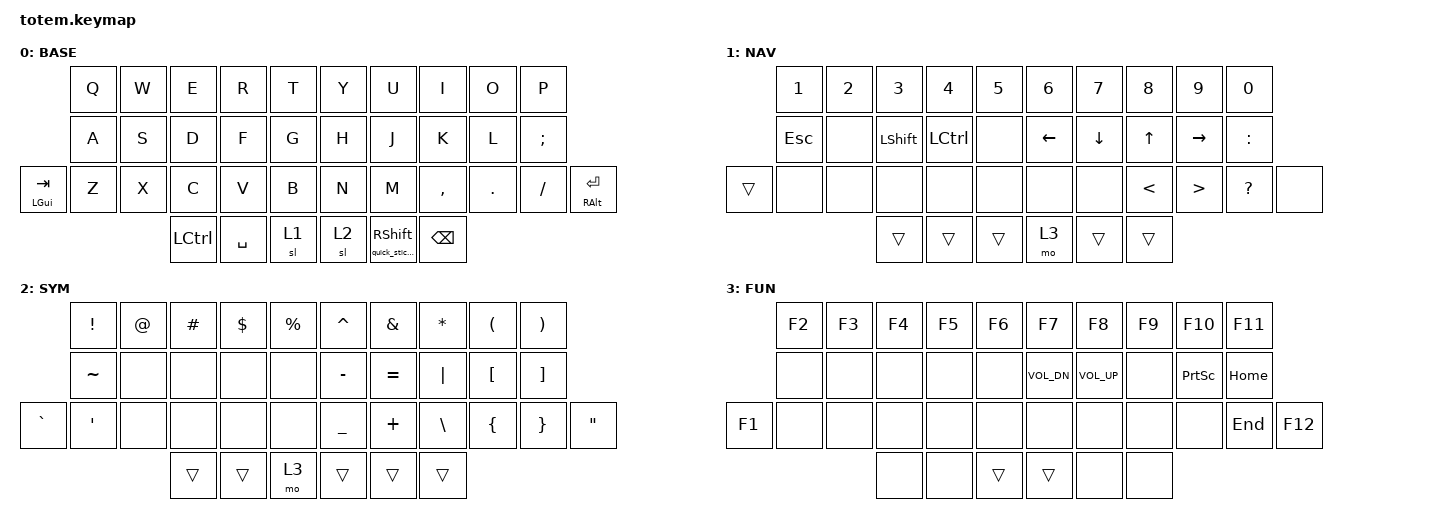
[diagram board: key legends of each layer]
//
//                                                        ▀▀▀▀▀     ▀▀▀▀▀          ▀▀█▀▀
//                                                        ▄▀▀▀▄  ▄  ▄▀▀▀▄  ▄  ▄▀▀▀▄  █  ▄▀▀▀▄
//                                                        █   █  █  █   █  █  █   █  █  █   █
//                                                         ▀▀▀   █   ▀▀▀   █   ▀▀▀   ▀   ▀▀▀
//                                                               █      ▄▄▄█▄▄▄    █   █  
//                                                               ▀      █  █  █     █▄█
//                                                             ▀▀▀▀▀    █  █  █      ▀
//                                                                      ▀  ▀  ▀
//
// ▄▄▄▄▄▄▄▄▄▄▄▄▄▄▄▄▄▄▄▄▄▄▄▄▄▄▄▄▄▄▄▄▄▄▄▄▄▄▄▄▄▄▄▄▄▄▄▄▄▄▄▄▄▄▄▄▄▄▄▄▄▄▄▄▄▄▄▄▄▄▄▄▄▄▄▄▄▄▄▄▄▄▄▄▄▄▄▄▄▄▄▄▄▄▄▄▄▄▄▄▄▄▄▄▄▄▄▄▄▄▄▄▄▄▄▄▄▄▄▄▄▄▄▄▄▄▄▄▄▄▄▄▄▄▄▄▄▄▄▄▄▄▄▄▄▄▄▄▄

#include <behaviors.dtsi>
#include <dt-bindings/zmk/bt.h>
#include <dt-bindings/zmk/keys.h>

#define BASE 0
#define NAV  1
#define SYM  2
#define ADJ  3
#define TVP1 4
#define TVP2 5

&mt {
    quick-tap-ms = <100>;
    global-quick-tap;
    flavor = "tap-preferred";
    tapping-term-ms = <170>;
};

/ {
    combos {
        compatible = "zmk,combos";

        BT_CLEAR_ALL {
            bindings = <&bt BT_CLR_ALL>;
            key-positions = <20 31>;
            layers = <3>;
        };
    };

    macros {
        gif: gif {
            label = "giphy";
            compatible = "zmk,behavior-macro";
            #binding-cells = <0>;
            bindings =
                <&macro_press>,
                <&kp LSHFT>,
                <&macro_tap>,
                <&kp N2>,
                <&macro_release>,
                <&kp LSHFT>,
                <&macro_tap>,
                <&kp G &kp I &kp F>;
        };
    };

    behaviors {
        quick_sticky: quick_sticky {
            compatible = "zmk,behavior-sticky-key";
            label = "QUICK_STICKY";
            bindings = <&kp>;
            #binding-cells = <1>;
            release-after-ms = <500>;
            quick-release;
        };
    };

    keymap {
        compatible = "zmk,keymap";

        // ▄▄▄▄▄▄▄▄▄▄▄▄▄▄▄▄▄▄▄▄▄▄▄▄▄▄▄▄▄▄▄▄▄▄▄▄▄▄▄▄▄▄▄▄▄▄▄▄▄▄▄▄▄▄▄▄▄▄▄▄▄▄▄▄▄▄▄▄▄▄▄▄▄▄▄▄▄▄▄▄▄▄▄▄▄▄▄▄▄▄▄▄▄▄▄▄▄▄▄▄▄▄▄▄▄▄▄▄▄▄▄▄▄▄▄▄▄▄▄▄▄▄▄▄▄▄▄▄▄▄▄▄▄▄▄▄▄▄▄▄▄▄▄▄▄▄▄▄▄

        base {
            // ┏━━━━━━━━━━━━━━━━━━━━━━━━━━━━━━━━━━━━━━━┓

            label = "BASE";

            // ┗━━━━━━━━━━━━━━━━━━━━━━━━━━━━━━━━━━━━━━━┛
            //             ┏━━━━━━━━━━━┳━━━━━━━━━━━┳━━━━━━━━━━━┳━━━━━━━━━━━┳━━━━━━━━━━━┓   ┏━━━━━━━━━━━┳━━━━━━━━━━━┳━━━━━━━━━━━┳━━━━━━━━━━━┳━━━━━━━━━━━┓
            //             ┃     Q     ┃     W     ┃     F     ┃     P     ┃     G     ┃   ┃     J     ┃     L     ┃     U     ┃     Y     ┃     ;     ┃
            //             ┣━━━━━━━━━━━╋━━━━━━━━━━━╋━━━━━━━━━━━╋━━━━━━━━━━━╋━━━━━━━━━━━┫   ┣━━━━━━━━━━━╋━━━━━━━━━━━╋━━━━━━━━━━━╋━━━━━━━━━━━╋━━━━━━━━━━━┫
            //             ┃     A     ┃     R     ┃     S     ┃     T     ┃     D     ┃   ┃     H     ┃     N     ┃     E     ┃     I     ┃     O     ┃
            // ┏━━━━━━━━━━━╋━━━━━━━━━━━╋━━━━━━━━━━━╋━━━━━━━━━━━╋━━━━━━━━━━━╋━━━━━━━━━━━┫   ┣━━━━━━━━━━━╋━━━━━━━━━━━╋━━━━━━━━━━━╋━━━━━━━━━━━╋━━━━━━━━━━━╋━━━━━━━━━━━┓
            // ┃     Q     ┃     Z     ┃     X     ┃     C     ┃     V     ┃     B     ┃   ┃     K     ┃     M     ┃     ,     ┃     .     ┃     /     ┃     \     ┃
            // ┗━━━━━━━━━━━┻━━━━━━━━━━━┻━━━━━━━━━━━╋━━━━━━━━━━━╋━━━━━━━━━━━╋━━━━━━━━━━━┫   ┣━━━━━━━━━━━╋━━━━━━━━━━━╋━━━━━━━━━━━╋━━━━━━━━━━━┻━━━━━━━━━━━┻━━━━━━━━━━━┛
            //                                     ┃    DEL    ┃    TAB    ┃    SPC    ┃   ┃   ENTER   ┃           ┃   BSPC    ┃
            //                                     ┗━━━━━━━━━━━┻━━━━━━━━━━━┻━━━━━━━━━━━┛   ┗━━━━━━━━━━━┻━━━━━━━━━━━┻━━━━━━━━━━━┛

            bindings = <
                  &kp Q  &kp W  &kp E             &kp R      &kp T    &kp Y  &kp U                      &kp I      &kp O    &kp P
                  &kp A  &kp S  &kp D             &kp F      &kp G    &kp H  &kp J                      &kp K      &kp L    &kp SEMICOLON
&mt LEFT_GUI TAB  &kp Z  &kp X  &kp C             &kp V      &kp B    &kp N  &kp M                      &kp COMMA  &kp DOT  &kp FSLH       &mt RIGHT_ALT ENTER
                                &kp LEFT_CONTROL  &kp SPACE  &sl 1    &sl 2  &quick_sticky RIGHT_SHIFT  &kp BSPC
            >;
        };

        // ▄▄▄▄▄▄▄▄▄▄▄▄▄▄▄▄▄▄▄▄▄▄▄▄▄▄▄▄▄▄▄▄▄▄▄▄▄▄▄▄▄▄▄▄▄▄▄▄▄▄▄▄▄▄▄▄▄▄▄▄▄▄▄▄▄▄▄▄▄▄▄▄▄▄▄▄▄▄▄▄▄▄▄▄▄▄▄▄▄▄▄▄▄▄▄▄▄▄▄▄▄▄▄▄▄▄▄▄▄▄▄▄▄▄▄▄▄▄▄▄▄▄▄▄▄▄▄▄▄▄▄▄▄▄▄▄▄▄▄▄▄▄▄▄▄▄▄▄▄

        navigation {
            // ┏━━━━━━━━━━━━━━━━━━━━━━━━━━━━━━━━━━━━━━━┓

            label = "NAV";

            // ┗━━━━━━━━━━━━━━━━━━━━━━━━━━━━━━━━━━━━━━━┛
            //             ┏━━━━━━━━━━━┳━━━━━━━━━━━┳━━━━━━━━━━━┳━━━━━━━━━━━┳━━━━━━━━━━━┓   ┏━━━━━━━━━━━┳━━━━━━━━━━━┳━━━━━━━━━━━┳━━━━━━━━━━━┳━━━━━━━━━━━┓
            //             ┃           ┃           ┃     UP    ┃           ┃     {     ┃   ┃     }     ┃     7     ┃     8     ┃     9     ┃     +     ┃
            //             ┣━━━━━━━━━━━╋━━━━━━━━━━━╋━━━━━━━━━━━╋━━━━━━━━━━━╋━━━━━━━━━━━┫   ┣━━━━━━━━━━━╋━━━━━━━━━━━╋━━━━━━━━━━━╋━━━━━━━━━━━╋━━━━━━━━━━━┫
            //             ┃   SHIFT   ┃   LEFT    ┃    DOWN   ┃   RIGHT   ┃     [     ┃   ┃     ]     ┃     4     ┃     5     ┃     6     ┃     -     ┃
            // ┏━━━━━━━━━━━╋━━━━━━━━━━━╋━━━━━━━━━━━╋━━━━━━━━━━━╋━━━━━━━━━━━╋━━━━━━━━━━━┫   ┣━━━━━━━━━━━╋━━━━━━━━━━━╋━━━━━━━━━━━╋━━━━━━━━━━━╋━━━━━━━━━━━╋━━━━━━━━━━━┓
            // ┃           ┃           ┃   P UP    ┃  C LOCK   ┃  P DOWN   ┃     (     ┃   ┃     )     ┃     1     ┃     2     ┃     3     ┃     *     ┃           ┃
            // ┗━━━━━━━━━━━┻━━━━━━━━━━━┻━━━━━━━━━━━╋━━━━━━━━━━━╋━━━━━━━━━━━╋━━━━━━━━━━━┫   ┣━━━━━━━━━━━╋━━━━━━━━━━━╋━━━━━━━━━━━╋━━━━━━━━━━━┻━━━━━━━━━━━┻━━━━━━━━━━━┛
            //                                     ┃           ┃    TAB    ┃    SPC    ┃   ┃    DEL    ┃     0     ┃           ┃
            //                                     ┗━━━━━━━━━━━┻━━━━━━━━━━━┻━━━━━━━━━━━┛   ┗━━━━━━━━━━━┻━━━━━━━━━━━┻━━━━━━━━━━━┛

            bindings = <
        &kp NUMBER_1  &kp NUMBER_2  &kp NUMBER_3    &kp NUMBER_4      &kp N5    &kp NUMBER_6  &kp N7    &kp N8         &kp N9            &kp N0
        &kp ESCAPE    &none         &kp LEFT_SHIFT  &kp LEFT_CONTROL  &none     &kp LEFT      &kp DOWN  &kp UP_ARROW   &kp RIGHT         &kp COLON
&trans  &none         &none         &none           &none             &none     &none         &none     &kp LESS_THAN  &kp GREATER_THAN  &kp QUESTION  &none
                                    &trans          &trans            &trans    &mo 3         &trans    &trans
            >;
        };

        // ▄▄▄▄▄▄▄▄▄▄▄▄▄▄▄▄▄▄▄▄▄▄▄▄▄▄▄▄▄▄▄▄▄▄▄▄▄▄▄▄▄▄▄▄▄▄▄▄▄▄▄▄▄▄▄▄▄▄▄▄▄▄▄▄▄▄▄▄▄▄▄▄▄▄▄▄▄▄▄▄▄▄▄▄▄▄▄▄▄▄▄▄▄▄▄▄▄▄▄▄▄▄▄▄▄▄▄▄▄▄▄▄▄▄▄▄▄▄▄▄▄▄▄▄▄▄▄▄▄▄▄▄▄▄▄▄▄▄▄▄▄▄▄▄▄▄▄▄▄

        symbols {
            // ┏━━━━━━━━━━━━━━━━━━━━━━━━━━━━━━━━━━━━━━━┓

            label = "SYM";

            // ┗━━━━━━━━━━━━━━━━━━━━━━━━━━━━━━━━━━━━━━━┛
            //             ┏━━━━━━━━━━━┳━━━━━━━━━━━┳━━━━━━━━━━━┳━━━━━━━━━━━┳━━━━━━━━━━━┓   ┏━━━━━━━━━━━┳━━━━━━━━━━━┳━━━━━━━━━━━┳━━━━━━━━━━━┳━━━━━━━━━━━┓
            //             ┃     !     ┃     @     ┃     #     ┃     $     ┃     %     ┃   ┃     ˆ     ┃     &     ┃     Ü     ┃     '     ┃     "     ┃
            //             ┣━━━━━━━━━━━╋━━━━━━━━━━━╋━━━━━━━━━━━╋━━━━━━━━━━━╋━━━━━━━━━━━┫   ┣━━━━━━━━━━━╋━━━━━━━━━━━╋━━━━━━━━━━━╋━━━━━━━━━━━╋━━━━━━━━━━━┫
            //             ┃     Ä     ┃           ┃    SZ     ┃           ┃           ┃   ┃   MUTE    ┃   YEN     ┃   EURO    ┃  POUND    ┃     Ö     ┃
            // ┏━━━━━━━━━━━╋━━━━━━━━━━━╋━━━━━━━━━━━╋━━━━━━━━━━━╋━━━━━━━━━━━╋━━━━━━━━━━━┫   ┣━━━━━━━━━━━╋━━━━━━━━━━━╋━━━━━━━━━━━╋━━━━━━━━━━━╋━━━━━━━━━━━╋━━━━━━━━━━━┓
            // ┃           ┃  EMAIL1   ┃  EMAIL2   ┃           ┃           ┃           ┃   ┃   VOL-    ┃   VOL+    ┃   LAST    ┃   NEXT    ┃     \     ┃           ┃
            // ┗━━━━━━━━━━━┻━━━━━━━━━━━┻━━━━━━━━━━━╋━━━━━━━━━━━╋━━━━━━━━━━━╋━━━━━━━━━━━┫   ┣━━━━━━━━━━━╋━━━━━━━━━━━╋━━━━━━━━━━━╋━━━━━━━━━━━┻━━━━━━━━━━━┻━━━━━━━━━━━┛
            //                                     ┃           ┃    GIF    ┃    ADJ    ┃   ┃           ┃           ┃           ┃
            //                                     ┗━━━━━━━━━━━┻━━━━━━━━━━━┻━━━━━━━━━━━┛   ┗━━━━━━━━━━━┻━━━━━━━━━━━┻━━━━━━━━━━━┛

            bindings = <
           &kp EXCL          &kp AT  &kp HASH  &kp DLLR  &kp PRCNT    &kp CARET       &kp AMPS   &kp ASTERISK   &kp LEFT_PARENTHESIS  &kp RIGHT_PARENTHESIS
           &kp TILDE         &none   &none     &none     &none        &kp MINUS       &kp EQUAL  &kp PIPE       &kp LEFT_BRACKET      &kp RIGHT_BRACKET
&kp GRAVE  &kp SINGLE_QUOTE  &none   &none     &none     &none        &kp UNDERSCORE  &kp PLUS   &kp BACKSLASH  &kp LEFT_BRACE        &kp RIGHT_BRACE        &kp DOUBLE_QUOTES
                                     &trans    &trans    &mo 3        &trans          &trans     &trans
            >;
        };

        // ▄▄▄▄▄▄▄▄▄▄▄▄▄▄▄▄▄▄▄▄▄▄▄▄▄▄▄▄▄▄▄▄▄▄▄▄▄▄▄▄▄▄▄▄▄▄▄▄▄▄▄▄▄▄▄▄▄▄▄▄▄▄▄▄▄▄▄▄▄▄▄▄▄▄▄▄▄▄▄▄▄▄▄▄▄▄▄▄▄▄▄▄▄▄▄▄▄▄▄▄▄▄▄▄▄▄▄▄▄▄▄▄▄▄▄▄▄▄▄▄▄▄▄▄▄▄▄▄▄▄▄▄▄▄▄▄▄▄▄▄▄▄▄▄▄▄▄▄▄

        functions {
            // ┏━━━━━━━━━━━━━━━━━━━━━━━━━━━━━━━━━━━━━━━┓

            label = "FUN";

            // ┗━━━━━━━━━━━━━━━━━━━━━━━━━━━━━━━━━━━━━━━┛
            //             ┏━━━━━━━━━━━┳━━━━━━━━━━━┳━━━━━━━━━━━┳━━━━━━━━━━━┳━━━━━━━━━━━┓   ┏━━━━━━━━━━━┳━━━━━━━━━━━┳━━━━━━━━━━━┳━━━━━━━━━━━┳━━━━━━━━━━━┓
            //             ┃   RESET   ┃ BT CLEAR  ┃  OUT TOG  ┃           ┃           ┃   ┃           ┃    F7     ┃    F8     ┃    F9     ┃    F12    ┃
            //             ┣━━━━━━━━━━━╋━━━━━━━━━━━╋━━━━━━━━━━━╋━━━━━━━━━━━╋━━━━━━━━━━━┫   ┣━━━━━━━━━━━╋━━━━━━━━━━━╋━━━━━━━━━━━╋━━━━━━━━━━━╋━━━━━━━━━━━┫
            //             ┃ BOOTLOAD  ┃ BT NEXT   ┃           ┃           ┃           ┃   ┃           ┃    F4     ┃    F5     ┃    F6     ┃    F11    ┃
            // ┏━━━━━━━━━━━╋━━━━━━━━━━━╋━━━━━━━━━━━╋━━━━━━━━━━━╋━━━━━━━━━━━╋━━━━━━━━━━━┫   ┣━━━━━━━━━━━╋━━━━━━━━━━━╋━━━━━━━━━━━╋━━━━━━━━━━━╋━━━━━━━━━━━╋━━━━━━━━━━━┓
            // ┃           ┃           ┃ BT PREV   ┃           ┃           ┃           ┃   ┃           ┃    F1     ┃    F2     ┃    F3     ┃    F10    ┃           ┃
            // ┗━━━━━━━━━━━┻━━━━━━━━━━━┻━━━━━━━━━━━╋━━━━━━━━━━━╋━━━━━━━━━━━╋━━━━━━━━━━━┫   ┣━━━━━━━━━━━╋━━━━━━━━━━━╋━━━━━━━━━━━╋━━━━━━━━━━━┻━━━━━━━━━━━┻━━━━━━━━━━━┛
            //                                     ┃           ┃           ┃           ┃   ┃           ┃           ┃           ┃
            //                                     ┗━━━━━━━━━━━┻━━━━━━━━━━━┻━━━━━━━━━━━┛   ┗━━━━━━━━━━━┻━━━━━━━━━━━┻━━━━━━━━━━━┛

            bindings = <
        &kp F2  &kp F3  &kp F4  &kp F5  &kp F6    &kp F7        &kp F8           &kp F9  &kp F10          &kp F11
        &none   &none   &none   &none   &none     &kp C_VOL_DN  &kp C_VOLUME_UP  &none   &kp PRINTSCREEN  &kp HOME
&kp F1  &none   &none   &none   &none   &none     &none         &none            &none   &none            &kp END   &kp F12
                        &none   &none   &trans    &trans        &none            &none
            >;
        };

        // ▄▄▄▄▄▄▄▄▄▄▄▄▄▄▄▄▄▄▄▄▄▄▄▄▄▄▄▄▄▄▄▄▄▄▄▄▄▄▄▄▄▄▄▄▄▄▄▄▄▄▄▄▄▄▄▄▄▄▄▄▄▄▄▄▄▄▄▄▄▄▄▄▄▄▄▄▄▄▄▄▄▄▄▄▄▄▄▄▄▄▄▄▄▄▄▄▄▄▄▄▄▄▄▄▄▄▄▄▄▄▄▄▄▄▄▄▄▄▄▄▄▄▄▄▄▄▄▄▄▄▄▄▄▄▄▄▄▄▄▄▄▄▄▄▄▄▄▄▄
        // ▄▄▄▄▄▄▄▄▄▄▄▄▄▄▄▄▄▄▄▄▄▄▄▄▄▄▄▄▄▄▄▄▄▄▄▄▄▄▄▄▄▄▄▄▄▄▄▄▄▄▄▄▄▄▄▄▄▄▄▄▄▄▄▄▄▄▄▄▄▄▄▄▄▄▄▄▄▄▄▄▄▄▄▄▄▄▄▄▄▄▄▄▄▄▄▄▄▄▄▄▄▄▄▄▄▄▄▄▄▄▄▄▄▄▄▄▄▄▄▄▄▄▄▄▄▄▄▄▄▄▄▄▄▄▄▄▄▄▄▄▄▄▄▄▄▄▄▄▄
    };
};
